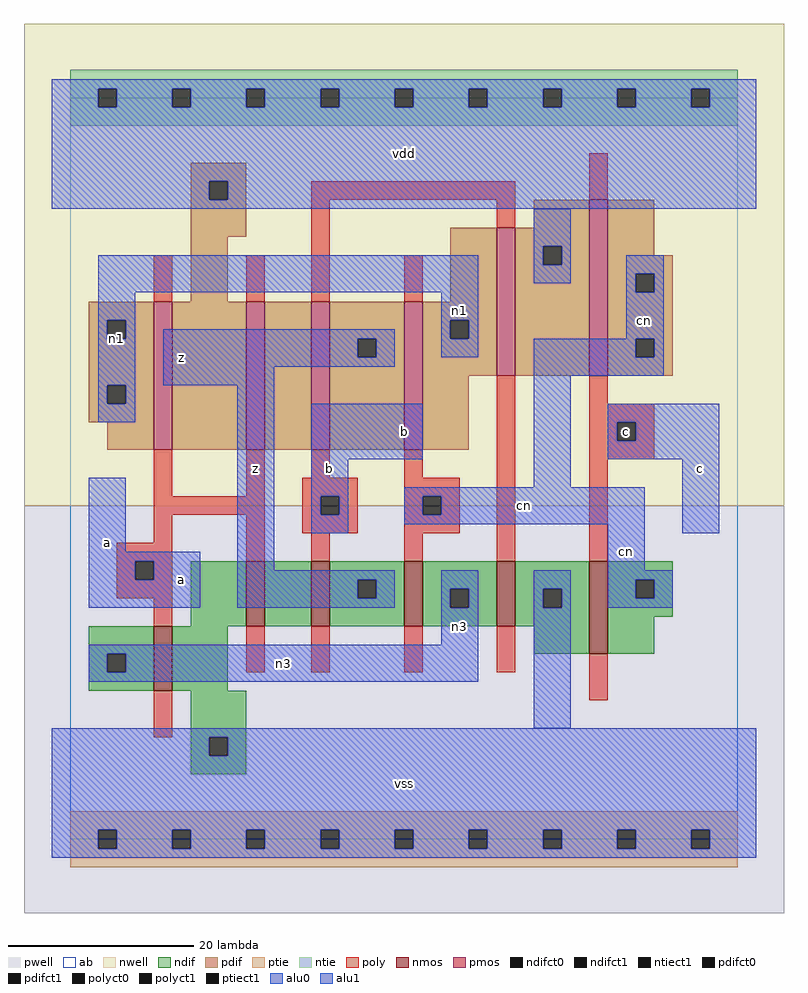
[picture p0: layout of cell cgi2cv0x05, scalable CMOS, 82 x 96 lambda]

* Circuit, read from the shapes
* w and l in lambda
.subckt cgi2cv0x05 a b c cn n1 n3 vdd vss z
M1 vss a n3 vss nfet w=7 l=2
M2 n2 a vss vss nfet w=7 l=2
M3 z b n2 vss nfet w=7 l=2
M4 n3 cn z vss nfet w=7 l=2
M5 vss b n3 vss nfet w=7 l=2
M6 cn c vss vss nfet w=10 l=2
M7 vdd a n1 vdd pfet w=16 l=2
M8 n4 a vdd vdd pfet w=16 l=2
M9 z b n4 vdd pfet w=16 l=2
M10 n1 cn z vdd pfet w=16 l=2
M11 vdd b n1 vdd pfet w=16 l=2
M12 cn c vdd vdd pfet w=19 l=2
.ends

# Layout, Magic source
magic
tech scmos
<< ab >>
rect 0 0 72 80
<< nwell >>
rect -5 36 77 88
<< pwell >>
rect -5 -8 77 36
<< poly >>
rect 26 69 48 71
rect 56 69 58 74
rect 9 58 11 63
rect 19 58 21 63
rect 26 58 28 69
rect 46 66 48 69
rect 36 58 38 63
rect 9 37 11 42
rect 19 37 21 42
rect 26 39 28 42
rect 36 39 38 42
rect 9 35 21 37
rect 9 32 11 35
rect 5 30 11 32
rect 19 30 21 35
rect 25 37 31 39
rect 25 35 27 37
rect 29 35 31 37
rect 25 33 31 35
rect 36 37 42 39
rect 36 35 38 37
rect 40 35 42 37
rect 36 33 42 35
rect 26 30 28 33
rect 36 30 38 33
rect 46 30 48 50
rect 56 47 58 50
rect 56 45 63 47
rect 56 43 59 45
rect 61 43 63 45
rect 56 41 63 43
rect 56 30 58 41
rect 5 28 7 30
rect 9 28 11 30
rect 5 26 11 28
rect 9 23 11 26
rect 19 18 21 23
rect 26 18 28 23
rect 36 18 38 23
rect 46 18 48 23
rect 9 11 11 16
rect 56 15 58 20
<< ndif >>
rect 13 23 19 30
rect 21 23 26 30
rect 28 28 36 30
rect 28 26 31 28
rect 33 26 36 28
rect 28 23 36 26
rect 38 27 46 30
rect 38 25 41 27
rect 43 25 46 27
rect 38 23 46 25
rect 48 27 56 30
rect 48 25 51 27
rect 53 25 56 27
rect 48 23 56 25
rect 2 20 9 23
rect 2 18 4 20
rect 6 18 9 20
rect 2 16 9 18
rect 11 16 17 23
rect 50 20 56 23
rect 58 28 65 30
rect 58 26 61 28
rect 63 26 65 28
rect 58 24 65 26
rect 58 20 63 24
rect 13 11 19 16
rect 13 9 15 11
rect 17 9 19 11
rect 13 7 19 9
<< pdif >>
rect 13 71 19 73
rect 13 69 15 71
rect 17 69 19 71
rect 13 65 19 69
rect 13 58 17 65
rect 50 66 56 69
rect 41 58 46 66
rect 2 56 9 58
rect 2 54 4 56
rect 6 54 9 56
rect 2 49 9 54
rect 2 47 4 49
rect 6 47 9 49
rect 2 45 9 47
rect 4 42 9 45
rect 11 42 19 58
rect 21 42 26 58
rect 28 54 36 58
rect 28 52 31 54
rect 33 52 36 54
rect 28 42 36 52
rect 38 56 46 58
rect 38 54 41 56
rect 43 54 46 56
rect 38 50 46 54
rect 48 64 56 66
rect 48 62 51 64
rect 53 62 56 64
rect 48 50 56 62
rect 58 63 63 69
rect 58 61 65 63
rect 58 59 61 61
rect 63 59 65 61
rect 58 54 65 59
rect 58 52 61 54
rect 63 52 65 54
rect 58 50 65 52
rect 38 42 43 50
<< alu1 >>
rect -2 81 74 82
rect -2 79 3 81
rect 5 79 11 81
rect 13 79 19 81
rect 21 79 27 81
rect 29 79 35 81
rect 37 79 43 81
rect 45 79 51 81
rect 53 79 59 81
rect 61 79 67 81
rect 69 79 74 81
rect -2 71 74 79
rect -2 69 15 71
rect 17 69 74 71
rect -2 68 74 69
rect 10 54 35 55
rect 10 52 31 54
rect 33 52 35 54
rect 10 51 35 52
rect 10 49 22 51
rect 2 31 6 39
rect 2 30 14 31
rect 2 28 7 30
rect 9 28 14 30
rect 2 25 14 28
rect 18 29 22 49
rect 26 41 38 47
rect 26 37 30 41
rect 58 45 70 47
rect 58 43 59 45
rect 61 43 70 45
rect 58 41 70 43
rect 26 35 27 37
rect 29 35 30 37
rect 26 33 30 35
rect 66 33 70 41
rect 18 28 35 29
rect 18 26 31 28
rect 33 26 35 28
rect 18 25 35 26
rect -2 11 74 12
rect -2 9 15 11
rect 17 9 74 11
rect -2 1 74 9
rect -2 -1 3 1
rect 5 -1 11 1
rect 13 -1 19 1
rect 21 -1 27 1
rect 29 -1 35 1
rect 37 -1 43 1
rect 45 -1 51 1
rect 53 -1 59 1
rect 61 -1 67 1
rect 69 -1 74 1
rect -2 -2 74 -1
<< ptie >>
rect 0 1 72 3
rect 0 -1 3 1
rect 5 -1 11 1
rect 13 -1 19 1
rect 21 -1 27 1
rect 29 -1 35 1
rect 37 -1 43 1
rect 45 -1 51 1
rect 53 -1 59 1
rect 61 -1 67 1
rect 69 -1 72 1
rect 0 -3 72 -1
<< ntie >>
rect 0 81 72 83
rect 0 79 3 81
rect 5 79 11 81
rect 13 79 19 81
rect 21 79 27 81
rect 29 79 35 81
rect 37 79 43 81
rect 45 79 51 81
rect 53 79 59 81
rect 61 79 67 81
rect 69 79 72 81
rect 0 77 72 79
<< nmos >>
rect 19 23 21 30
rect 26 23 28 30
rect 36 23 38 30
rect 46 23 48 30
rect 9 16 11 23
rect 56 20 58 30
<< pmos >>
rect 9 42 11 58
rect 19 42 21 58
rect 26 42 28 58
rect 36 42 38 58
rect 46 50 48 66
rect 56 50 58 69
<< polyct0 >>
rect 38 35 40 37
<< polyct1 >>
rect 27 35 29 37
rect 59 43 61 45
rect 7 28 9 30
<< ndifct0 >>
rect 41 25 43 27
rect 51 25 53 27
rect 4 18 6 20
rect 61 26 63 28
<< ndifct1 >>
rect 31 26 33 28
rect 15 9 17 11
<< ntiect1 >>
rect 3 79 5 81
rect 11 79 13 81
rect 19 79 21 81
rect 27 79 29 81
rect 35 79 37 81
rect 43 79 45 81
rect 51 79 53 81
rect 59 79 61 81
rect 67 79 69 81
<< ptiect1 >>
rect 3 -1 5 1
rect 11 -1 13 1
rect 19 -1 21 1
rect 27 -1 29 1
rect 35 -1 37 1
rect 43 -1 45 1
rect 51 -1 53 1
rect 59 -1 61 1
rect 67 -1 69 1
<< pdifct0 >>
rect 4 54 6 56
rect 4 47 6 49
rect 41 54 43 56
rect 51 62 53 64
rect 61 59 63 61
rect 61 52 63 54
<< pdifct1 >>
rect 15 69 17 71
rect 31 52 33 54
<< alu0 >>
rect 50 64 54 68
rect 3 59 44 63
rect 50 62 51 64
rect 53 62 54 64
rect 50 60 54 62
rect 60 61 64 63
rect 3 56 7 59
rect 3 54 4 56
rect 6 54 7 56
rect 40 56 44 59
rect 3 49 7 54
rect 40 54 41 56
rect 43 54 44 56
rect 60 59 61 61
rect 63 59 64 61
rect 60 54 64 59
rect 40 52 44 54
rect 50 52 61 54
rect 63 52 64 54
rect 3 47 4 49
rect 6 47 7 49
rect 3 45 7 47
rect 50 50 64 52
rect 50 38 54 50
rect 36 37 62 38
rect 36 35 38 37
rect 40 35 62 37
rect 36 34 62 35
rect 58 29 62 34
rect 40 27 44 29
rect 40 25 41 27
rect 43 25 44 27
rect 40 21 44 25
rect 2 20 44 21
rect 2 18 4 20
rect 6 18 44 20
rect 2 17 44 18
rect 50 27 54 29
rect 50 25 51 27
rect 53 25 54 27
rect 58 28 65 29
rect 58 26 61 28
rect 63 26 65 28
rect 58 25 65 26
rect 50 12 54 25
<< labels >>
rlabel alu0 5 54 5 54 6 n1
rlabel alu0 42 23 42 23 6 n3
rlabel alu0 23 19 23 19 6 n3
rlabel alu0 42 57 42 57 6 n1
rlabel alu0 49 36 49 36 6 cn
rlabel alu0 60 31 60 31 6 cn
rlabel alu0 62 56 62 56 6 cn
rlabel alu1 4 32 4 32 6 a
rlabel alu1 12 28 12 28 6 a
rlabel alu1 12 52 12 52 6 z
rlabel alu1 28 40 28 40 6 b
rlabel alu1 20 40 20 40 6 z
rlabel alu1 36 6 36 6 6 vss
rlabel alu1 36 44 36 44 6 b
rlabel alu1 36 74 36 74 6 vdd
rlabel alu1 68 40 68 40 6 c
rlabel polyct1 60 44 60 44 6 c
<< end >>
